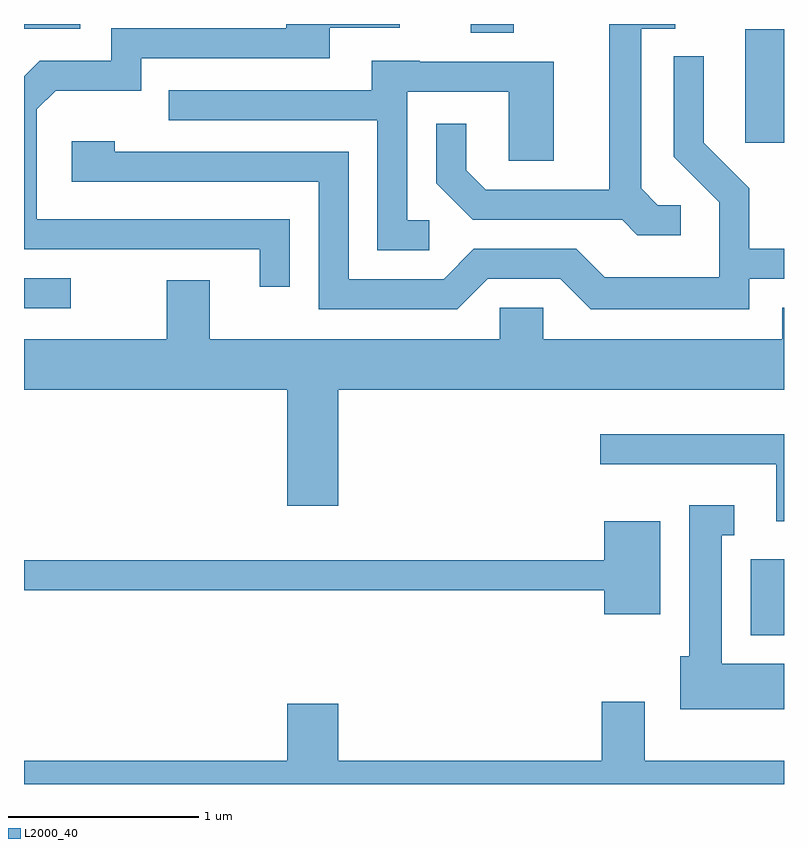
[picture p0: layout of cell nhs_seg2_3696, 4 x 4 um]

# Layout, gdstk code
import gdstk
lib = gdstk.Library(unit=1e-6, precision=1e-09)
def R(c, l, rs):  # rectangles x0, y0, x1, y1
    for r in rs: c.add(gdstk.rectangle(r[:2], r[2:], *l))
def P(c, l, *ps):  # polygons
    for p in ps: c.add(gdstk.Polygon(p, *l))
L2000_40 = (2000, 40)

nhs_seg2_3696 = lib.new_cell('nhs_seg2_3696')
R(nhs_seg2_3696, L2000_40, [(297.436,1042.586,297.611,1042.984), (293.611,1044.306,293.858,1044.464), (297.406,1045.176,297.611,1045.774), (295.961,1045.756,296.189,1045.802), (293.611,1045.776,293.908,1045.802)])
P(nhs_seg2_3696, L2000_40, [(297.068,1044.849),(296.947,1044.849),(296.859,1044.937),(296.859,1045.776),(297.038,1045.776),(297.038,1045.802),(296.691,1045.802),(296.691,1044.929),(296.042,1044.929),(295.939,1045.032),(295.939,1045.277),(295.781,1045.277),(295.781,1044.964),(295.974,1044.771),(296.759,1044.771),(296.839,1044.691),(297.068,1044.691)],
  [(295.009,1044.774),(293.679,1044.774),(293.679,1045.353),(293.777,1045.451),(294.229,1045.451),(294.229,1045.621),(295.219,1045.621),(295.219,1045.781),(295.588,1045.781),(295.588,1045.802),(294.991,1045.802),(294.991,1045.779),(294.071,1045.779),(294.071,1045.609),(293.694,1045.609),(293.611,1045.526),(293.611,1044.616),(294.851,1044.616),(294.851,1044.418),(295.009,1044.418)],
  [(296.052,1044.461),(296.434,1044.461),(296.594,1044.301),(297.429,1044.301),(297.429,1044.461),(297.611,1044.461),(297.611,1044.619),(297.429,1044.619),(297.429,1044.937),(297.189,1045.177),(297.189,1045.632),(297.031,1045.632),(297.031,1045.103),(297.271,1044.863),(297.271,1044.469),(296.667,1044.469),(296.517,1044.619),(295.979,1044.619),(295.819,1044.459),(295.319,1044.459),(295.319,1045.129),(294.089,1045.129),(294.089,1045.184),(293.861,1045.184),(293.861,1044.971),(295.161,1044.971),(295.161,1044.301),(295.892,1044.301)],
  [(295.743,1044.769),(295.629,1044.769),(295.629,1045.446),(296.161,1045.446),(296.161,1045.081),(296.399,1045.081),(296.399,1045.604),(295.695,1045.604),(295.695,1045.609),(295.441,1045.609),(295.441,1045.454),(294.373,1045.454),(294.373,1045.296),(295.471,1045.296),(295.471,1044.611),(295.743,1044.611)],
  [(295.264,1043.876),(297.611,1043.876),(297.611,1044.309),(297.601,1044.309),(297.601,1044.144),(296.344,1044.144),(296.344,1044.309),(296.116,1044.309),(296.116,1044.144),(294.589,1044.144),(294.589,1044.454),(294.361,1044.454),(294.361,1044.144),(293.611,1044.144),(293.611,1043.876),(294.996,1043.876),(294.996,1043.266),(295.264,1043.266)],
  [(297.611,1043.644),(296.643,1043.644),(296.643,1043.486),(297.571,1043.486),(297.571,1043.186),(297.611,1043.186)],
  [(297.611,1042.434),(297.284,1042.434),(297.284,1043.111),(297.348,1043.111),(297.348,1043.269),(297.111,1043.269),(297.111,1042.474),(297.066,1042.474),(297.066,1042.196),(297.611,1042.196)],
  [(296.959,1043.184),(296.666,1043.184),(296.666,1042.979),(293.611,1042.979),(293.611,1042.821),(296.666,1042.821),(296.666,1042.696),(296.959,1042.696)],
  [(297.611,1041.924),(296.879,1041.924),(296.879,1042.234),(296.651,1042.234),(296.651,1041.924),(295.264,1041.924),(295.264,1042.224),(294.996,1042.224),(294.996,1041.924),(293.611,1041.924),(293.611,1041.802),(297.611,1041.802)])

lib.write_gds('nhs_seg2_3696.gds')
